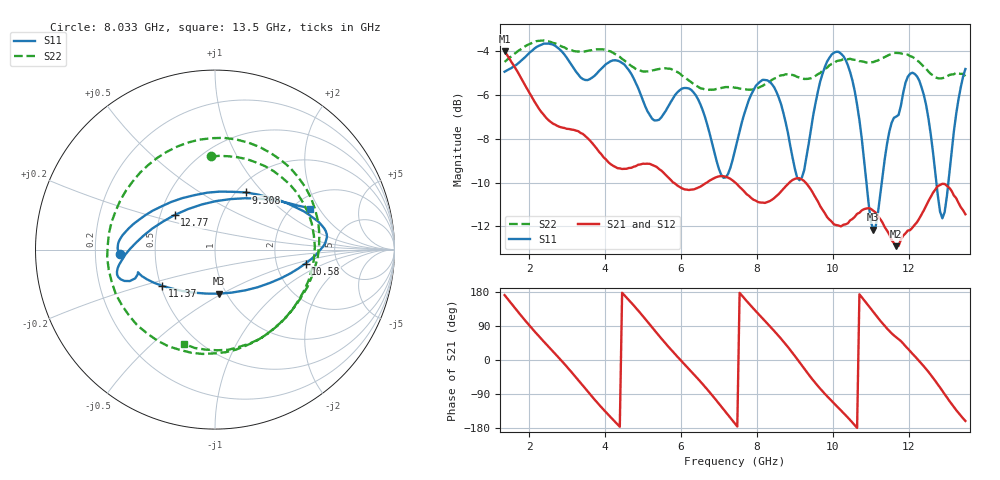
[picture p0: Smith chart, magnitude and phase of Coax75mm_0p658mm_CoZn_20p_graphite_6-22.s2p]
!Agilent Technologies,N5230C,MY48100320,A.08.04.10
!Agilent N5230C: A.08.04.10
!Date: Tuesday, August 23, 2016 04:15:36
!Correction: S11(Full 2 Port(1,2))
!S21(Full 2 Port(1,2))
!S12(Full 2 Port(1,2))
!S22(Full 2 Port(1,2))
!S2P File: Measurements: S11, S21, S12, S22:
# Hz S  dB  R 50
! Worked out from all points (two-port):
!   201 points, 1.35 GHz to 13.5 GHz, reference 50 ohm
!   highest |S21| = -4.01 dB at 1.35 GHz (marker M1); lowest = -12.9 dB at 11.68 GHz (marker M2)
!   |S21| within 3 dB of the highest: start of sweep to 2.427 GHz
!   lowest |S11| = -12.2 dB at 11.07 GHz (marker M3), VSWR 1.66, Z = 46.1 - j24.2 ohm
!   |S11| at or under -10 dB: 10.89 GHz to 11.29 GHz (403.9 MHz wide, 3.64 % of centre); 12.73 GHz to 13.05 GHz (316.4 MHz wide, 2.45 % of centre)
!   |S22| runs from -5.8 to -3.5 dB; largest |S21 - S12| = 0.0013
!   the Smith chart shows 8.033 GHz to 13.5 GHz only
!   S11 on the Smith chart (normalised r, x): 8.033 GHz: 0.31, -0.02; 9.308 GHz: 1.10, +0.81; 10.58 GHz: 2.94, -0.62; 11.37 GHz: 0.51, -0.23; 12.77 GHz: 0.59, +0.25; 13.5 GHz: 2.43, +1.65
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1.35027e9  -4.94 85.4  -4.01 171.2  -4.02 171.2  -4.50 67.7
1.957756e9  -4.16 11.6  -5.77 96.6  -5.78 96.6  -3.72 -0.3
2.565243e9  -3.68 -41.3  -7.24 29.1  -7.24 29.1  -3.59 -69.7
3.415724e9  -5.28 -123.6  -7.79 -67.9  -7.80 -67.9  -4.03 -163.9
4.387702e9  -4.48 143.7  -9.36 -176.1  -9.37 -176.1  -4.27 96.9
5.42043e9  -7.14 42.5  -9.38 64.3  -9.39 64.3  -4.82 -12.3
6.331659e9  -5.89 -26.7  -10.32 -36.8  -10.34 -36.9  -5.50 -100.1
6.939146e9  -9.01 -73.1  -9.75 -107.3  -9.77 -107.3  -5.73 -159.8
7.425135e9  -8.53 -142.9  -9.99 -168.1  -10.01 -168.1  -5.67 148.6
8.032622e9  -5.48 -177.4  -10.89 122.5  -10.91 122.5  -5.68 92.5
8.761605e9  -7.27 153.8  -10.17 41.4  -10.19 41.5  -5.06 21.4
9.308343e9  -8.84 61.8  -10.04 -30.5  -10.05 -30.3  -5.27 -36.6
9.490589e9  -6.89 37.5  -10.51 -54.0  -10.53 -53.8  -5.20 -54.4
1.003733e10  -4.07 9.5  -11.91 -114.5  -11.92 -114.4  -4.55 -109.4
1.058406e10  -5.84 -8.7  -11.56 -172.2  -11.57 -172.0  -4.40 -169.2
1.107005e10  -12.15 -85.0  -11.29 126.9  -11.29 127.1  -4.51 140.3
1.13738e10  -8.92 -145.8  -12.04 89.8  -12.03 90.0  -4.27 110.3
1.149529e10  -7.67 -156.4  -12.37 76.5  -12.37 76.8  -4.17 98.0
1.167754e10  -6.99 -163.7  -12.90 59.9  -12.90 60.1  -4.08 79.1
1.222428e10  -5.16 -169.2  -11.81 3.7  -11.79 3.9  -4.43 21.5
1.277102e10  -10.56 139.5  -10.16 -64.4  -10.16 -64.3  -5.24 -33.7
1.35e10  -4.82 23.3  -11.45 -160.7  -11.44 -160.7  -5.15 -108.0
